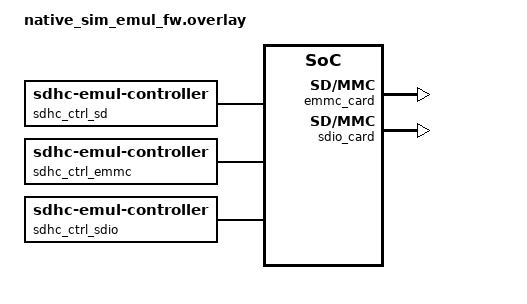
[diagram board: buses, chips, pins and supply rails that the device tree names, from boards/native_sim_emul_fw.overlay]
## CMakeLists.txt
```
# Copyright 2026 Alif Semiconductor
# SPDX-License-Identifier: Apache-2.0

cmake_minimum_required(VERSION 3.20.0)

find_package(Zephyr REQUIRED HINTS $ENV{ZEPHYR_BASE})
project(sdhc_emul_test)

file(GLOB app_sources src/*.c)
target_sources(app PRIVATE ${app_sources})
```

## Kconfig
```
# Copyright 2026 Alif Semiconductor
# SPDX-License-Identifier: Apache-2.0

source "Kconfig.zephyr"
```

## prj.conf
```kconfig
# Copyright 2026 Alif Semiconductor
# SPDX-License-Identifier: Apache-2.0

CONFIG_ZTEST=y
CONFIG_SDHC=y
CONFIG_EMUL=y
CONFIG_LOG=y
```

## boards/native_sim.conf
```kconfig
CONFIG_ZTEST=y
CONFIG_SDHC=y
CONFIG_SDHC_EMUL=y
CONFIG_LOG=y
CONFIG_SYS_HEAP_AUTO=y
```

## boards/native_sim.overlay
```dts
/**
 * Copyright 2026 Alif Semiconductor
 *
 * SPDX-License-Identifier: Apache-2.0
 */

/ {
	aliases {
		sdhc-sd = &sdhc_sd;
		sdhc-emmc = &sdhc_emmc;
	};

	sdhc_sd: sdhc_emul_sd {
		compatible = "zephyr,sdhc-emul";
		card-type = "sdhc";
		capacity-blocks = <1024>;
		max-bus-freq = <50000000>;
		bus-width = <4>;
		high-speed;
		voltage-330;
		card-inserted;
		status = "okay";
	};

	sdhc_emmc: sdhc_emul_emmc {
		compatible = "zephyr,sdhc-emul";
		card-type = "emmc";
		capacity-blocks = <1024>;
		max-bus-freq = <200000000>;
		bus-width = <8>;
		high-speed;
		voltage-330;
		card-inserted;
		status = "okay";
	};
};
```

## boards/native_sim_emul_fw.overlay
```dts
/*
 * Copyright 2026 Alif Semiconductor
 *
 * SPDX-License-Identifier: Apache-2.0
 *
 * Test overlay using the emul-framework controller + card pattern.
 * Each card type gets its own controller to match existing test aliases.
 */

/ {
	aliases {
		sdhc-sd = &sdhc_ctrl_sd;
		sdhc-emmc = &sdhc_ctrl_emmc;
		sdhc-sdio = &sdhc_ctrl_sdio;
	};

	sdhc_ctrl_sd: sdhc-emul-controller-sd {
		compatible = "zephyr,sdhc-emul-controller";
		#address-cells = <1>;
		#size-cells = <0>;
		max-bus-freq = <50000000>;
		bus-width = <4>;
		high-speed;
		voltage-330;
		status = "okay";

		sd_card: sd-card@0 {
			compatible = "zephyr,sdhc-emul-card";
			reg = <0>;
			card-type = "sdhc";
			capacity-blocks = <1024>;
			card-inserted;
			status = "okay";
		};
	};

	sdhc_ctrl_emmc: sdhc-emul-controller-emmc {
		compatible = "zephyr,sdhc-emul-controller";
		#address-cells = <1>;
		#size-cells = <0>;
		max-bus-freq = <200000000>;
		bus-width = <8>;
		high-speed;
		voltage-330;
		status = "okay";

		emmc_card: emmc-card@0 {
			compatible = "zephyr,sdhc-emul-card";
			reg = <0>;
			card-type = "emmc";
			capacity-blocks = <2048>;
			card-inserted;
			status = "okay";
		};
	};

	sdhc_ctrl_sdio: sdhc-emul-controller-sdio {
		compatible = "zephyr,sdhc-emul-controller";
		#address-cells = <1>;
		#size-cells = <0>;
		max-bus-freq = <50000000>;
		bus-width = <4>;
		high-speed;
		voltage-330;
		status = "okay";

		sdio_card: sdio-card@0 {
			compatible = "zephyr,sdhc-emul-card";
			reg = <0>;
			card-type = "sdio";
			capacity-blocks = <128>;
			sdio-func-count = <2>;
			card-inserted;
			status = "okay";
		};
	};
};
```

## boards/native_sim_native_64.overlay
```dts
/*
 * Copyright 2026 Alif Semiconductor
 *
 * SPDX-License-Identifier: Apache-2.0
 */

#include "native_sim.overlay"
```

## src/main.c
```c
/*
 * Copyright 2026 Alif Semiconductor
 * SPDX-License-Identifier: Apache-2.0
 */

#include <zephyr/ztest.h>
#include <zephyr/device.h>
#include <zephyr/drivers/sdhc.h>
#include <zephyr/drivers/sdhc/sdhc_emul.h>
#include <zephyr/sd/sd_spec.h>
#include <string.h>

static const struct device *const dev = DEVICE_DT_GET(DT_ALIAS(sdhc_sd));

static int card_state(const struct device *dev, uint32_t rca)
{
	struct sdhc_command cmd = {0};
	int ret;

	cmd.opcode = SD_SEND_STATUS;
	cmd.arg = rca << 16;
	cmd.response_type = SD_RSP_TYPE_R1;
	cmd.timeout_ms = 200;
	ret = sdhc_request(dev, &cmd, NULL);
	if (ret != 0) {
		return ret;
	}
	return (cmd.response[0] >> SD_R1_CURRENT_STATE_OFFSET) & 0xF;
}

/* CMD0 through CMD7 so later tests start in TRANSFER. SD cards only. */
static void sd_to_transfer(const struct device *card_dev)
{
	struct sdhc_command cmd = {0};
	uint32_t rca;

	cmd.opcode = SD_GO_IDLE_STATE;
	zassert_ok(sdhc_request(card_dev, &cmd, NULL), "CMD0 failed");

	cmd.opcode = SD_APP_CMD;
	zassert_ok(sdhc_request(card_dev, &cmd, NULL), "CMD55 failed");
	cmd.opcode = SD_APP_SEND_OP_COND;
	cmd.arg = SD_OCR_HOST_CAP_FLAG;
	zassert_ok(sdhc_request(card_dev, &cmd, NULL), "ACMD41 failed");

	cmd.opcode = SD_ALL_SEND_CID;
	cmd.arg = 0;
	zassert_ok(sdhc_request(card_dev, &cmd, NULL), "CMD2 failed");

	cmd.opcode = SD_SEND_RELATIVE_ADDR;
	cmd.arg = 0;
	zassert_ok(sdhc_request(card_dev, &cmd, NULL), "CMD3 failed");
	rca = cmd.response[0] >> 16;

	cmd.opcode = SD_SELECT_CARD;
	cmd.arg = rca << 16;
	zassert_ok(sdhc_request(card_dev, &cmd, NULL), "CMD7 failed");
}

ZTEST(sdhc_init, test_card_present_toggle)
{
	zassert_equal(sdhc_card_present(dev), 1, "Card not present on init");
	sdhc_emul_set_card_present(dev, false);
	zassert_equal(sdhc_card_present(dev), 0, "Card still present after removal");
	sdhc_emul_set_card_present(dev, true);
	zassert_equal(sdhc_card_present(dev), 1, "Card not present after reinsertion");
}

/* Verify full SD init sequence and state transitions via CMD13. */
ZTEST(sdhc_init, test_sd_init_sequence)
{
	struct sdhc_command cmd = {0};
	int ret;
	int state;

	/* CMD0 -> IDLE */
	cmd.opcode = SD_GO_IDLE_STATE;
	ret = sdhc_request(dev, &cmd, NULL);
	zassert_ok(ret, "CMD0 failed");
	state = card_state(dev, 0);
	zassert_equal(state, 0, "Not IDLE after CMD0");

	/* CMD8 -> IDLE */
	cmd.opcode = SD_SEND_IF_COND;
	cmd.arg = SD_IF_COND_VHS_3V3 | SD_IF_COND_CHECK;
	ret = sdhc_request(dev, &cmd, NULL);
	zassert_ok(ret, "CMD8 failed");
	zassert_equal(cmd.response[0] & SD_IF_COND_CHECK, SD_IF_COND_CHECK,
			  "CMD8 bad echo pattern");
	state = card_state(dev, 0);
	zassert_equal(state, 0, "Not IDLE after CMD8");

	/* ACMD41 -> READY */
	cmd.opcode = SD_APP_CMD;
	cmd.arg = 0;
	ret = sdhc_request(dev, &cmd, NULL);
	zassert_ok(ret, "CMD55 failed");

	cmd.opcode = SD_APP_SEND_OP_COND;
	cmd.arg = SD_OCR_HOST_CAP_FLAG |
		  SD_OCR_VDD27_28FLAG | SD_OCR_VDD28_29FLAG |
		  SD_OCR_VDD29_30FLAG | SD_OCR_VDD30_31FLAG |
		  SD_OCR_VDD31_32FLAG | SD_OCR_VDD32_33FLAG |
		  SD_OCR_VDD33_34FLAG | SD_OCR_VDD34_35FLAG |
		  SD_OCR_VDD35_36FLAG;
	ret = sdhc_request(dev, &cmd, NULL);
	zassert_ok(ret, "ACMD41 failed");
	zassert_true(cmd.response[0] & SD_OCR_PWR_BUSY_FLAG,
		     "Card not ready after ACMD41");
			 state = card_state(dev, 0);
	zassert_equal(state, 1, "Not READY after ACMD41");

	/* CMD2 -> IDENT */
	cmd.opcode = SD_ALL_SEND_CID;
	cmd.arg = 0;
	ret = sdhc_request(dev, &cmd, NULL);
	zassert_ok(ret, "CMD2 failed");
	state = card_state(dev, 0);
	zassert_equal(state, 2, "Not IDENT after CMD2");

	/* CMD3 -> STANDBY */
	cmd.opcode = SD_SEND_RELATIVE_ADDR;
	ret = sdhc_request(dev, &cmd, NULL);
	zassert_ok(ret, "CMD3 failed");
	uint32_t rca = cmd.response[0] >> 16;

	state = card_state(dev, rca);
	zassert_equal(state, 3, "Not STANDBY after CMD3");

	/* CMD7 -> TRANSFER */
	cmd.opcode = SD_SELECT_CARD;
	cmd.arg = rca << 16;
	ret = sdhc_request(dev, &cmd, NULL);
	zassert_ok(ret, "CMD7 failed");
	state = card_state(dev, rca);
	zassert_equal(state, 4, "Not TRANSFER after CMD7");
}

/* Verify full eMMC init sequence and state transitions via CMD13. */
ZTEST(sdhc_init, test_emmc_init_sequence)
{
	const struct device *emmc_dev = DEVICE_DT_GET(DT_ALIAS(sdhc_emmc));
	struct sdhc_command cmd = {0};
	int ret;
	int state;

	cmd.opcode = SD_GO_IDLE_STATE;
	ret = sdhc_request(emmc_dev, &cmd, NULL);
	zassert_ok(ret, "CMD0 failed");
	state = card_state(emmc_dev, 0);
	zassert_equal(state, 0, "Not IDLE after CMD0");

	cmd.opcode = MMC_SEND_OP_COND;
	cmd.arg = SD_OCR_HOST_CAP_FLAG |
		  SD_OCR_VDD27_28FLAG | SD_OCR_VDD28_29FLAG |
		  SD_OCR_VDD29_30FLAG | SD_OCR_VDD30_31FLAG |
		  SD_OCR_VDD31_32FLAG | SD_OCR_VDD32_33FLAG |
		  SD_OCR_VDD33_34FLAG | SD_OCR_VDD34_35FLAG |
		  SD_OCR_VDD35_36FLAG;
	ret = sdhc_request(emmc_dev, &cmd, NULL);
	zassert_ok(ret, "CMD1 failed");
	zassert_true(cmd.response[0] & SD_OCR_PWR_BUSY_FLAG,
		     "eMMC not ready after CMD1");
	state = card_state(emmc_dev, 0);
	zassert_equal(state, 1, "Not READY after CMD1");

	cmd.opcode = SD_ALL_SEND_CID;
	ret = sdhc_request(emmc_dev, &cmd, NULL);
	zassert_ok(ret, "CMD2 failed");
	state = card_state(emmc_dev, 0);
	zassert_equal(state, 2, "Not IDENT after CMD2");

	cmd.opcode = SD_SEND_RELATIVE_ADDR;
	ret = sdhc_request(emmc_dev, &cmd, NULL);
	zassert_ok(ret, "CMD3 failed");
	uint32_t rca = cmd.response[0] >> 16;

	state = card_state(emmc_dev, rca);
	zassert_equal(state, 3, "Not STANDBY after CMD3");

	cmd.opcode = SD_SELECT_CARD;
	cmd.arg = rca << 16;
	ret = sdhc_request(emmc_dev, &cmd, NULL);
	zassert_ok(ret, "CMD7 failed");
	state = card_state(emmc_dev, rca);
	zassert_equal(state, 4, "Not TRANSFER after CMD7");

	/* CMD8 EXT_CSD Read */
	cmd.opcode = MMC_SEND_EXT_CSD;
	cmd.arg = 0;
	struct sdhc_data data = {0};
	uint8_t ext_csd[512] = {0};

	data.data = ext_csd;
	ret = sdhc_request(emmc_dev, &cmd, &data);
	zassert_ok(ret, "CMD8 EXT_CSD read failed");
	zassert_equal(ext_csd[MMC_EXT_CSD_REV], MMC_5_1,
		      "EXT_CSD_REV mismatch (expected eMMC 5.1)");
}

/* Poke backing storage, then CMD17 must return the same bytes. */
ZTEST(sdhc_init, test_storage_and_block_count_accessors)
{
	struct sdhc_command cmd = {0};
	struct sdhc_data data = {0};
	uint8_t rbuf[512];
	uint32_t count = 0;
	uint8_t *storage = sdhc_emul_get_storage(dev);

	zassert_not_null(storage, "Storage pointer should not be NULL");
	zassert_ok(sdhc_emul_get_block_count(dev, &count));
	zassert_equal(count, 1024, "Unexpected block count for sdhc_sd");

	memset(storage, 0x3C, 512);
	sd_to_transfer(dev);

	cmd.opcode = SD_READ_SINGLE_BLOCK;
	cmd.arg = 0;
	data.block_addr = 0;
	data.block_size = 512;
	data.blocks = 1;
	data.data = rbuf;
	zassert_ok(sdhc_request(dev, &cmd, &data), "CMD17 failed");
	zassert_mem_equal(rbuf, storage, 512, "CMD17 did not read backing storage");
}

ZTEST_SUITE(sdhc_init, NULL, NULL, NULL, NULL, NULL);
```

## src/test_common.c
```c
/*
 * Copyright 2026 Alif Semiconductor
 *
 * SPDX-License-Identifier: Apache-2.0
 */

#include "test_common.h"
#include <zephyr/ztest.h>
#include <zephyr/sd/sd_spec.h>

uint32_t sdhc_init_to_transfer(const struct device *dev)
{
	struct sdhc_host_props props = {0};
	struct sdhc_command cmd = {0};
	int ret;

	zassert_ok(sdhc_get_host_props(dev, &props), "get_host_props failed");

	bool is_emmc = props.host_caps.bus_8_bit_support != 0;

	/* CMD0 GO_IDLE_STATE */
	cmd.opcode = SD_GO_IDLE_STATE;
	ret = sdhc_request(dev, &cmd, NULL);
	zassert_ok(ret, "CMD0 failed");

	if (is_emmc) {
		/* CMD1 SEND_OP_COND */
		cmd.opcode = MMC_SEND_OP_COND;
		cmd.arg = SD_OCR_HOST_CAP_FLAG |
			  SD_OCR_VDD27_28FLAG | SD_OCR_VDD28_29FLAG |
			  SD_OCR_VDD29_30FLAG | SD_OCR_VDD30_31FLAG |
			  SD_OCR_VDD31_32FLAG | SD_OCR_VDD32_33FLAG |
			  SD_OCR_VDD33_34FLAG | SD_OCR_VDD34_35FLAG |
			  SD_OCR_VDD35_36FLAG;
		ret = sdhc_request(dev, &cmd, NULL);
		zassert_ok(ret, "CMD1 failed");
		zassert_true(cmd.response[0] & SD_OCR_PWR_BUSY_FLAG,
			     "eMMC not ready after CMD1");
	} else {
		/* CMD8 SEND_IF_COND */
		cmd.opcode = SD_SEND_IF_COND;
		cmd.arg = SD_IF_COND_VHS_3V3 | SD_IF_COND_CHECK;
		ret = sdhc_request(dev, &cmd, NULL);
		zassert_ok(ret, "CMD8 failed");
		zassert_equal(cmd.response[0] & SD_IF_COND_CHECK, SD_IF_COND_CHECK,
			      "CMD8 bad echo pattern");

		/* CMD55 + ACMD41 SD_SEND_OP_COND */
		cmd.opcode = SD_APP_CMD;
		cmd.arg = 0;
		ret = sdhc_request(dev, &cmd, NULL);
		zassert_ok(ret, "CMD55 failed");

		cmd.opcode = SD_APP_SEND_OP_COND;
		cmd.arg = SD_OCR_HOST_CAP_FLAG |
			  SD_OCR_VDD27_28FLAG | SD_OCR_VDD28_29FLAG |
			  SD_OCR_VDD29_30FLAG | SD_OCR_VDD30_31FLAG |
			  SD_OCR_VDD31_32FLAG | SD_OCR_VDD32_33FLAG |
			  SD_OCR_VDD33_34FLAG | SD_OCR_VDD34_35FLAG |
			  SD_OCR_VDD35_36FLAG;
		ret = sdhc_request(dev, &cmd, NULL);
		zassert_ok(ret, "ACMD41 failed");
		zassert_true(cmd.response[0] & SD_OCR_PWR_BUSY_FLAG,
			     "Card not ready after ACMD41");
	}

	/* CMD2 ALL_SEND_CID */
	cmd.opcode = SD_ALL_SEND_CID;
	cmd.arg = 0;
	ret = sdhc_request(dev, &cmd, NULL);
	zassert_ok(ret, "CMD2 failed");

	/* CMD3 SEND_RELATIVE_ADDR */
	cmd.opcode = SD_SEND_RELATIVE_ADDR;
	ret = sdhc_request(dev, &cmd, NULL);
	zassert_ok(ret, "CMD3 failed");
	uint32_t rca = cmd.response[0] >> 16;

	/* CMD7 SELECT_CARD */
	cmd.opcode = SD_SELECT_CARD;
	cmd.arg = rca << 16;
	ret = sdhc_request(dev, &cmd, NULL);
	zassert_ok(ret, "CMD7 failed");

	return rca;
}

int sdhc_get_card_state(const struct device *dev, uint32_t rca)
{
	struct sdhc_command cmd = {0};
	int ret;

	cmd.opcode = SD_SEND_STATUS;
	cmd.arg = rca << 16;
	ret = sdhc_request(dev, &cmd, NULL);
	if (ret != 0) {
		return ret;
	}
	return (cmd.response[0] >> 9) & 0xF;
}

int sdhc_acmd(const struct device *dev, uint32_t rca,
	      uint8_t opcode, uint32_t arg,
	      struct sdhc_command *cmd_out,
	      struct sdhc_data *data)
{
	struct sdhc_command cmd = {0};
	int ret;

	cmd.opcode = SD_APP_CMD;
	cmd.arg = rca << 16;
	ret = sdhc_request(dev, &cmd, NULL);
	if (ret != 0) {
		return ret;
	}

	cmd.opcode = opcode;
	cmd.arg = arg;
	ret = sdhc_request(dev, &cmd, data);
	if (cmd_out != NULL) {
		*cmd_out = cmd;
	}
	return ret;
}

int sdhc_write_blocks(const struct device *dev, uint32_t block_addr,
		      uint8_t *buf, uint32_t n_blocks, size_t *bytes_xfered)
{
	struct sdhc_command cmd = {0};
	struct sdhc_data data = {0};

	cmd.opcode = (n_blocks == 1) ? SD_WRITE_SINGLE_BLOCK : SD_WRITE_MULTIPLE_BLOCK;
	cmd.arg = block_addr;
	data.block_addr = block_addr;
	data.block_size = 512;
	data.blocks = n_blocks;
	data.data = buf;

	int ret = sdhc_request(dev, &cmd, &data);

	if (ret == 0 && bytes_xfered != NULL) {
		*bytes_xfered = data.bytes_xfered;
	}
	return ret;
}

int sdhc_read_blocks(const struct device *dev, uint32_t block_addr,
		     uint8_t *buf, uint32_t n_blocks, size_t *bytes_xfered)
{
	struct sdhc_command cmd = {0};
	struct sdhc_data data = {0};

	cmd.opcode = (n_blocks == 1) ? SD_READ_SINGLE_BLOCK : SD_READ_MULTIPLE_BLOCK;
	cmd.arg = block_addr;
	data.block_addr = block_addr;
	data.block_size = 512;
	data.blocks = n_blocks;
	data.data = buf;

	int ret = sdhc_request(dev, &cmd, &data);

	if (ret == 0 && bytes_xfered != NULL) {
		*bytes_xfered = data.bytes_xfered;
	}
	return ret;
}
```

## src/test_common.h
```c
/*
 * Copyright 2026 Alif Semiconductor
 *
 * SPDX-License-Identifier: Apache-2.0
 */

#ifndef TEST_COMMON_H
#define TEST_COMMON_H

#include <zephyr/drivers/sdhc.h>

/* eMMC EXT_CSD byte offsets (JEDEC JESD84-B51) */
#define EXT_CSD_SEC_COUNT	212
#define EXT_CSD_BUS_WIDTH	183
#define EXT_CSD_HS_TIMING	185
#define EXT_CSD_STRUCTURE	192

/**
 * @brief Bring the emulated card to TRANSFER state.
 *
 * Auto-detects SD vs eMMC personality and runs the correct init sequence.
 * Returns the RCA assigned by CMD3.
 */
uint32_t sdhc_init_to_transfer(const struct device *dev);

/**
 * @brief Query card state via CMD13.
 * @return State nibble (0-15) or negative errno on failure.
 */
int sdhc_get_card_state(const struct device *dev, uint32_t rca);

/**
 * @brief Send CMD55 then an application-specific command.
 */
int sdhc_acmd(const struct device *dev, uint32_t rca,
	      uint8_t opcode, uint32_t arg,
	      struct sdhc_command *cmd_out,
	      struct sdhc_data *data);

/**
 * @brief High-level block write helper.
 * @return 0 on success, negative errno otherwise.
 */
int sdhc_write_blocks(const struct device *dev, uint32_t block_addr,
		      uint8_t *buf, uint32_t n_blocks, size_t *bytes_xfered);

/**
 * @brief High-level block read helper.
 * @return 0 on success, negative errno otherwise.
 */
int sdhc_read_blocks(const struct device *dev, uint32_t block_addr,
		     uint8_t *buf, uint32_t n_blocks, size_t *bytes_xfered);

#endif
```

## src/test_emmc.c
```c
/*
 * Copyright 2026 Alif Semiconductor
 *
 * SPDX-License-Identifier: Apache-2.0
 */

#include <zephyr/ztest.h>
#include <zephyr/device.h>
#include <zephyr/drivers/sdhc.h>
#include <zephyr/drivers/sdhc/sdhc_emul.h>
#include <zephyr/sd/sd_spec.h>
#include "test_common.h"

static const struct device *dev = DEVICE_DT_GET(DT_ALIAS(sdhc_emmc));

void *sdhc_emmc_setup(void)
{
	zassert_true(device_is_ready(dev), "eMMC emulator not ready");
	sdhc_init_to_transfer(dev);
	return NULL;
}

/* Verify EXT_CSD read returns SEC_COUNT matching devicetree capacity. */
ZTEST(sdhc_emmc, test_ext_csd_read)
{
	struct sdhc_command cmd = {0};
	struct sdhc_data data = {0};
	uint8_t ext_csd[512] = {0};

	cmd.opcode = MMC_SEND_EXT_CSD;
	data.data = ext_csd;
	uint32_t cap;

	int ret = sdhc_request(dev, &cmd, &data);

	zassert_ok(ret, "CMD8 failed");
	zassert_equal(data.bytes_xfered, 512, "bytes_xfered mismatch for EXT_CSD");

	zassert_ok(sdhc_emul_get_block_count(dev, &cap));

	uint32_t sec_count = (ext_csd[EXT_CSD_SEC_COUNT + 3] << 24) |
			     (ext_csd[EXT_CSD_SEC_COUNT + 2] << 16) |
			     (ext_csd[EXT_CSD_SEC_COUNT + 1] << 8) |
			     ext_csd[EXT_CSD_SEC_COUNT + 0];
	zassert_equal(sec_count, cap, "SEC_COUNT mismatch");
}

/* Verify CMD6 SWITCH can set HS200 timing mode in EXT_CSD. */
ZTEST(sdhc_emmc, test_switch_hs200)
{
	struct sdhc_command cmd = {0};

	cmd.opcode = SD_SWITCH;
	cmd.arg = (3 << 24) | (EXT_CSD_HS_TIMING << 16) | (0x02 << 8);
	zassert_ok(sdhc_request(dev, &cmd, NULL), "CMD6 SWITCH failed");

	struct sdhc_data data = {0};
	uint8_t ext_csd[512] = {0};

	cmd.opcode = MMC_SEND_EXT_CSD;
	cmd.arg = 0;
	data.data = ext_csd;
	sdhc_request(dev, &cmd, &data);
	zassert_equal(ext_csd[EXT_CSD_HS_TIMING], 0x02, "HS_TIMING not updated to HS200");
}

/* Verify CMD6 SWITCH can set 8-bit bus width in EXT_CSD. */
ZTEST(sdhc_emmc, test_switch_bus_width_8bit)
{
	struct sdhc_command cmd = {0};

	cmd.opcode = SD_SWITCH;
	cmd.arg = (3 << 24) | (EXT_CSD_BUS_WIDTH << 16) | (0x02 << 8);
	zassert_ok(sdhc_request(dev, &cmd, NULL), "CMD6 SWITCH failed");

	struct sdhc_data data = {0};
	uint8_t ext_csd[512] = {0};

	cmd.opcode = MMC_SEND_EXT_CSD;
	cmd.arg = 0;
	data.data = ext_csd;
	sdhc_request(dev, &cmd, &data);
	zassert_equal(ext_csd[EXT_CSD_BUS_WIDTH], 0x02, "BUS_WIDTH not updated to 8-bit");
}

/* Verify reliable write prefix (CMD23 bit 31) is accepted. */
ZTEST(sdhc_emmc, test_reliable_write)
{
	struct sdhc_command cmd = {0};
	struct sdhc_data sdhc_data = {0};
	uint8_t wbuf[512] = {0};

	cmd.opcode = SD_SET_BLOCK_COUNT;
	cmd.arg = (1U << 31) | 1;
	zassert_ok(sdhc_request(dev, &cmd, NULL), "CMD23 failed");

	cmd.opcode = SD_WRITE_MULTIPLE_BLOCK;
	cmd.arg = 0;
	sdhc_data.block_addr = 0;
	sdhc_data.block_size = 512;
	sdhc_data.blocks = 1;
	sdhc_data.data = wbuf;
	zassert_ok(sdhc_request(dev, &cmd, &sdhc_data), "CMD25 failed");
	zassert_equal(sdhc_data.bytes_xfered, 512, "bytes_xfered mismatch");
}

/* Verify tuning block read returns the expected pattern. */
ZTEST(sdhc_emmc, test_tuning_block_pattern)
{
	struct sdhc_command cmd = {0};
	struct sdhc_data data = {0};
	uint8_t tuning_block[128] = {0};

	cmd.opcode = MMC_SEND_TUNING_BLOCK;
	data.data = tuning_block;
	zassert_ok(sdhc_request(dev, &cmd, &data), "CMD21 failed");
	zassert_equal(data.bytes_xfered, 128, "bytes_xfered mismatch for tuning");
	zassert_equal(tuning_block[0], 0xA5, "Tuning block mismatch");
	zassert_equal(tuning_block[127], 0xA5, "Tuning block mismatch");
}

/* Verify sleep state blocks data commands and awake restores operation. */
ZTEST(sdhc_emmc, test_sleep_awake)
{
	struct sdhc_command cmd = {0};

	cmd.opcode = SDIO_SEND_OP_COND;
	cmd.arg = 0x8000;
	zassert_ok(sdhc_request(dev, &cmd, NULL), "CMD5 SLEEP failed");

	cmd.opcode = SD_READ_SINGLE_BLOCK;
	cmd.arg = 0;
	struct sdhc_data data = {0};

	zassert_not_equal(sdhc_request(dev, &cmd, &data), 0,
			  "Data command succeeded in SLEEP state");

	cmd.opcode = SDIO_SEND_OP_COND;
	cmd.arg = 0x0000;
	zassert_ok(sdhc_request(dev, &cmd, NULL), "CMD5 AWAKE failed");
}

/* Verify direct HS400 transition without HS200 is rejected. */
ZTEST(sdhc_emmc, test_hs400_without_hs200_rejected)
{
	struct sdhc_command cmd = {0};

	sdhc_init_to_transfer(dev);

	cmd.opcode = SD_SWITCH;
	cmd.arg = (3 << 24) | (EXT_CSD_HS_TIMING << 16) | (0x03 << 8);

	int ret = sdhc_request(dev, &cmd, NULL);

	zassert_equal(ret, -EINVAL, "Direct transition to HS400 must return -EINVAL");
}
```

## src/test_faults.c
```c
/*
 * Copyright 2026 Alif Semiconductor
 *
 * SPDX-License-Identifier: Apache-2.0
 */

#include <zephyr/ztest.h>
#include <zephyr/device.h>
#include <zephyr/drivers/sdhc.h>
#include <zephyr/drivers/sdhc/sdhc_emul.h>
#include <zephyr/sd/sd_spec.h>
#include "test_common.h"

static const struct device *dev = DEVICE_DT_GET(DT_ALIAS(sdhc_sd));

/* Verify fault injection on CMD17 returns -EIO and clears correctly. */
ZTEST(sdhc_faults, test_inject_cmd17_error)
{
	struct sdhc_command cmd = {0};

	sdhc_emul_set_fault(dev, SD_READ_SINGLE_BLOCK);

	cmd.opcode = SD_READ_SINGLE_BLOCK;

	int ret = sdhc_request(dev, &cmd, NULL);

	zassert_equal(ret, -EIO, "CMD17 should fail due to fault injection");

	sdhc_emul_clear_fault(dev);

	cmd.opcode = SD_READ_SINGLE_BLOCK;
	ret = sdhc_request(dev, &cmd, NULL);
	zassert_not_equal(ret, -EIO, "CMD17 fault should be cleared");
}

/* Verify I/O after card removal returns -ENODEV. */
ZTEST(sdhc_faults, test_card_removal_mid_io)
{
	struct sdhc_command cmd = {0};

	sdhc_emul_set_card_present(dev, false);

	cmd.opcode = SD_READ_MULTIPLE_BLOCK;

	int ret = sdhc_request(dev, &cmd, NULL);

	zassert_equal(ret, -ENODEV, "I/O should fail with -ENODEV after card removal");

	sdhc_emul_set_card_present(dev, true);
}

/* Verify CMD17 with NULL data buffer returns -EINVAL. */
ZTEST(sdhc_faults, test_null_data_buffer)
{
	(void)sdhc_init_to_transfer(dev);
	struct sdhc_command cmd = {0};
	struct sdhc_data data = {0};

	cmd.opcode = SD_READ_SINGLE_BLOCK;
	data.data = NULL;

	int ret = sdhc_request(dev, &cmd, &data);

	zassert_equal(ret, -EINVAL, "CMD17 with NULL buffer should return -EINVAL");
}

/* Verify CMD17 with out-of-range block address returns -EINVAL. */
ZTEST(sdhc_faults, test_out_of_range_block)
{
	struct sdhc_command cmd = {0};
	struct sdhc_data data = {0};
	uint8_t buf[512];

	cmd.opcode = SD_READ_SINGLE_BLOCK;
	data.block_addr = UINT32_MAX;
	data.data = buf;

	int ret = sdhc_request(dev, &cmd, &data);

	zassert_equal(ret, -EINVAL, "CMD17 with out of bounds block should return -EINVAL");
}

/* Verify CMD8 echo reflects the supplied check pattern. */
ZTEST(sdhc_faults, test_wrong_voltage_cmd8)
{
	struct sdhc_command cmd = {0};

	cmd.opcode = SD_SEND_IF_COND;
	cmd.arg = 0x00000000;

	zassert_ok(sdhc_request(dev, &cmd, NULL), "CMD8 failed");
	zassert_equal(cmd.response[0] & 0xFF, 0x00, "CMD8 echo pattern mismatch");
}

/* Verify consecutive GO_IDLE_STATE commands succeed. */
ZTEST(sdhc_faults, test_double_reset)
{
	struct sdhc_command cmd = {0};

	cmd.opcode = SD_GO_IDLE_STATE;
	zassert_ok(sdhc_request(dev, &cmd, NULL), "First reset failed");
	zassert_ok(sdhc_request(dev, &cmd, NULL), "Second reset failed");
}

/* Verify fault injection on CMD24 returns -EIO and leaves state intact. */
ZTEST(sdhc_faults, test_inject_cmd24_error)
{
	uint32_t rca = sdhc_init_to_transfer(dev);
	struct sdhc_command cmd = {0};

	sdhc_emul_set_fault(dev, SD_WRITE_SINGLE_BLOCK);

	cmd.opcode = SD_WRITE_SINGLE_BLOCK;
	struct sdhc_data data = {0};
	uint8_t wbuf[512] = {0};

	data.block_addr = 0;
	data.block_size = 512;
	data.blocks = 1;
	data.data = wbuf;

	int ret = sdhc_request(dev, &cmd, &data);

	zassert_equal(ret, -EIO, "CMD24 should fail due to fault injection");

	int state = sdhc_get_card_state(dev, rca);

	zassert_true(state >= 0, "CMD13 failed");
	zassert_equal(state, 4, "Card state should stay TRANSFER after failed CMD24");

	sdhc_emul_clear_fault(dev);
}

/* Verify fault on ACMD41 keeps the card in IDLE state. */
ZTEST(sdhc_faults, test_inject_acmd41_blocks_init)
{
	struct sdhc_command cmd = {0};

	/* Reset to IDLE */
	cmd.opcode = SD_GO_IDLE_STATE;
	zassert_ok(sdhc_request(dev, &cmd, NULL), "CMD0 failed");

	/* Inject fault on ACMD41 */
	sdhc_emul_set_fault(dev, SD_APP_SEND_OP_COND);

	cmd.opcode = SD_APP_CMD;
	cmd.arg = 0;
	zassert_ok(sdhc_request(dev, &cmd, NULL), "CMD55 failed");

	cmd.opcode = SD_APP_SEND_OP_COND;
	cmd.arg = SD_OCR_HOST_CAP_FLAG |
		  SD_OCR_VDD27_28FLAG | SD_OCR_VDD28_29FLAG |
		  SD_OCR_VDD29_30FLAG | SD_OCR_VDD30_31FLAG |
		  SD_OCR_VDD31_32FLAG | SD_OCR_VDD32_33FLAG |
		  SD_OCR_VDD33_34FLAG | SD_OCR_VDD34_35FLAG |
		  SD_OCR_VDD35_36FLAG;
	int ret = sdhc_request(dev, &cmd, NULL);

	zassert_equal(ret, -EIO, "ACMD41 should fail due to fault injection");

	/* Card must stay in IDLE (not advance to READY) */
	int state = sdhc_get_card_state(dev, 0);

	zassert_true(state >= 0, "CMD13 failed");
	zassert_equal(state, 0, "Card should stay IDLE after failed ACMD41");

	sdhc_emul_clear_fault(dev);
}

/* Verify fault on CMD8 keeps the card in IDLE state. */
ZTEST(sdhc_faults, test_inject_cmd8_blocks_init)
{
	struct sdhc_command cmd = {0};

	cmd.opcode = SD_GO_IDLE_STATE;
	zassert_ok(sdhc_request(dev, &cmd, NULL), "CMD0 failed");

	sdhc_emul_set_fault(dev, SD_SEND_IF_COND);

	cmd.opcode = SD_SEND_IF_COND;
	cmd.arg = SD_IF_COND_VHS_3V3 | SD_IF_COND_CHECK;

	int ret = sdhc_request(dev, &cmd, NULL);

	zassert_equal(ret, -EIO, "CMD8 should fail due to fault injection");

	/* Card must stay in IDLE */
	int state = sdhc_get_card_state(dev, 0);

	zassert_true(state >= 0, "CMD13 failed");
	zassert_equal(state, 0, "Card should stay IDLE after failed CMD8");

	sdhc_emul_clear_fault(dev);
}
```

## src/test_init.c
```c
/*
 * Copyright 2026 Alif Semiconductor
 *
 * SPDX-License-Identifier: Apache-2.0
 */

#include <zephyr/ztest.h>
#include <zephyr/device.h>
#include <zephyr/drivers/sdhc.h>
#include <zephyr/drivers/sdhc/sdhc_emul.h>
#include <zephyr/sd/sd_spec.h>
#include "test_common.h"

static const struct device *dev = DEVICE_DT_GET(DT_ALIAS(sdhc_sd));

/* Verify SD host properties report expected capabilities. */
ZTEST(sdhc_init, test_host_props_sd)
{
	struct sdhc_host_props props;

	zassert_true(device_is_ready(dev), "SDHC emulator not ready");
	zassert_ok(sdhc_get_host_props(dev, &props), "sdhc_get_host_props failed");
	zassert_true(props.f_max >= 25000000, "f_max too low for SD");
	zassert_equal(props.host_caps.high_spd_support, 1, "High speed not supported");
	zassert_equal(props.host_caps.bus_8_bit_support, 0, "8-bit bus supported on SD");
}

/* Verify eMMC host properties report expected capabilities. */
ZTEST(sdhc_init, test_host_props_emmc)
{
	const struct device *emmc_dev = DEVICE_DT_GET(DT_ALIAS(sdhc_emmc));
	struct sdhc_host_props props;

	zassert_true(device_is_ready(emmc_dev), "eMMC emulator not ready");
	zassert_ok(sdhc_get_host_props(emmc_dev, &props), "sdhc_get_host_props failed");
	zassert_equal(props.host_caps.bus_8_bit_support, 1, "8-bit bus not supported on eMMC");
	zassert_true(props.f_max >= 200000000, "f_max too low for eMMC");
}

/* Verify card presence can be toggled via the emulator accessor. */
ZTEST(sdhc_init, test_card_present_toggle)
{
	zassert_equal(sdhc_card_present(dev), 1, "Card not present on init");

	sdhc_emul_set_card_present(dev, false);
	zassert_equal(sdhc_card_present(dev), 0, "Card still present after removal");

	sdhc_emul_set_card_present(dev, true);
	zassert_equal(sdhc_card_present(dev), 1, "Card not present after reinsertion");
}

/* Verify hardware reset does not erase emulator storage contents. */
ZTEST(sdhc_init, test_reset_preserves_storage)
{
	uint8_t *storage = sdhc_emul_get_storage(dev);

	zassert_not_null(storage, "Storage pointer is NULL");

	storage[0] = 0xA5;
	zassert_ok(sdhc_hw_reset(dev), "sdhc_hw_reset failed");
	zassert_equal(storage[0], 0xA5, "Storage cleared on reset");
}

/* Verify full SD init sequence and state transitions via CMD13. */
ZTEST(sdhc_init, test_sd_init_sequence)
{
	struct sdhc_command cmd = {0};
	int ret;
	int state;

	/* CMD0 -> IDLE */
	cmd.opcode = SD_GO_IDLE_STATE;
	ret = sdhc_request(dev, &cmd, NULL);
	zassert_ok(ret, "CMD0 failed");
	state = sdhc_get_card_state(dev, 0);
	zassert_equal(state, 0, "Not IDLE after CMD0");

	/* CMD8 -> IDLE */
	cmd.opcode = SD_SEND_IF_COND;
	cmd.arg = SD_IF_COND_VHS_3V3 | SD_IF_COND_CHECK;
	ret = sdhc_request(dev, &cmd, NULL);
	zassert_ok(ret, "CMD8 failed");
	zassert_equal(cmd.response[0] & SD_IF_COND_CHECK, SD_IF_COND_CHECK,
			  "CMD8 bad echo pattern");
	state = sdhc_get_card_state(dev, 0);
	zassert_equal(state, 0, "Not IDLE after CMD8");

	/* ACMD41 -> READY */
	cmd.opcode = SD_APP_CMD;
	cmd.arg = 0;
	ret = sdhc_request(dev, &cmd, NULL);
	zassert_ok(ret, "CMD55 failed");

	cmd.opcode = SD_APP_SEND_OP_COND;
	cmd.arg = SD_OCR_HOST_CAP_FLAG |
		  SD_OCR_VDD27_28FLAG | SD_OCR_VDD28_29FLAG |
		  SD_OCR_VDD29_30FLAG | SD_OCR_VDD30_31FLAG |
		  SD_OCR_VDD31_32FLAG | SD_OCR_VDD32_33FLAG |
		  SD_OCR_VDD33_34FLAG | SD_OCR_VDD34_35FLAG |
		  SD_OCR_VDD35_36FLAG;
	ret = sdhc_request(dev, &cmd, NULL);
	zassert_ok(ret, "ACMD41 failed");
	zassert_true(cmd.response[0] & SD_OCR_PWR_BUSY_FLAG,
		     "Card not ready after ACMD41");
	state = sdhc_get_card_state(dev, 0);
	zassert_equal(state, 1, "Not READY after ACMD41");

	/* CMD2 -> IDENT */
	cmd.opcode = SD_ALL_SEND_CID;
	cmd.arg = 0;
	ret = sdhc_request(dev, &cmd, NULL);
	zassert_ok(ret, "CMD2 failed");
	state = sdhc_get_card_state(dev, 0);
	zassert_equal(state, 2, "Not IDENT after CMD2");

	/* CMD3 -> STANDBY */
	cmd.opcode = SD_SEND_RELATIVE_ADDR;
	ret = sdhc_request(dev, &cmd, NULL);
	zassert_ok(ret, "CMD3 failed");
	uint32_t rca = cmd.response[0] >> 16;

	state = sdhc_get_card_state(dev, rca);
	zassert_equal(state, 3, "Not STANDBY after CMD3");

	/* CMD7 -> TRANSFER */
	cmd.opcode = SD_SELECT_CARD;
	cmd.arg = rca << 16;
	ret = sdhc_request(dev, &cmd, NULL);
	zassert_ok(ret, "CMD7 failed");
	state = sdhc_get_card_state(dev, rca);
	zassert_equal(state, 4, "Not TRANSFER after CMD7");
}

/* Verify CMD17 read is rejected when the card is in IDLE state. */
ZTEST(sdhc_init, test_illegal_state_cmd17_in_idle)
{
	struct sdhc_command cmd = {0};
	struct sdhc_data data = {0};

	cmd.opcode = SD_GO_IDLE_STATE;
	sdhc_request(dev, &cmd, NULL);

	cmd.opcode = SD_READ_SINGLE_BLOCK;
	cmd.arg = 0;

	int ret = sdhc_request(dev, &cmd, &data);

	zassert_not_equal(ret, 0, "CMD17 should fail in IDLE state");
}

/* Verify full eMMC init sequence and state transitions via CMD13. */
ZTEST(sdhc_init, test_emmc_init_sequence)
{
	const struct device *emmc_dev = DEVICE_DT_GET(DT_ALIAS(sdhc_emmc));
	struct sdhc_command cmd = {0};
	int ret;
	int state;

	cmd.opcode = SD_GO_IDLE_STATE;
	ret = sdhc_request(emmc_dev, &cmd, NULL);
	zassert_ok(ret, "CMD0 failed");
	state = sdhc_get_card_state(emmc_dev, 0);
	zassert_equal(state, 0, "Not IDLE after CMD0");

	cmd.opcode = MMC_SEND_OP_COND;
	cmd.arg = SD_OCR_HOST_CAP_FLAG |
		  SD_OCR_VDD27_28FLAG | SD_OCR_VDD28_29FLAG |
		  SD_OCR_VDD29_30FLAG | SD_OCR_VDD30_31FLAG |
		  SD_OCR_VDD31_32FLAG | SD_OCR_VDD32_33FLAG |
		  SD_OCR_VDD33_34FLAG | SD_OCR_VDD34_35FLAG |
		  SD_OCR_VDD35_36FLAG;
	ret = sdhc_request(emmc_dev, &cmd, NULL);
	zassert_ok(ret, "CMD1 failed");
	zassert_true(cmd.response[0] & SD_OCR_PWR_BUSY_FLAG,
		     "eMMC not ready after CMD1");
	state = sdhc_get_card_state(emmc_dev, 0);
	zassert_equal(state, 1, "Not READY after CMD1");

	cmd.opcode = SD_ALL_SEND_CID;
	ret = sdhc_request(emmc_dev, &cmd, NULL);
	zassert_ok(ret, "CMD2 failed");
	state = sdhc_get_card_state(emmc_dev, 0);
	zassert_equal(state, 2, "Not IDENT after CMD2");

	cmd.opcode = SD_SEND_RELATIVE_ADDR;
	ret = sdhc_request(emmc_dev, &cmd, NULL);
	zassert_ok(ret, "CMD3 failed");
	uint32_t rca = cmd.response[0] >> 16;

	state = sdhc_get_card_state(emmc_dev, rca);
	zassert_equal(state, 3, "Not STANDBY after CMD3");

	cmd.opcode = SD_SELECT_CARD;
	cmd.arg = rca << 16;
	ret = sdhc_request(emmc_dev, &cmd, NULL);
	zassert_ok(ret, "CMD7 failed");
	state = sdhc_get_card_state(emmc_dev, rca);
	zassert_equal(state, 4, "Not TRANSFER after CMD7");

	/* CMD8 EXT_CSD Read */
	cmd.opcode = MMC_SEND_EXT_CSD;
	cmd.arg = 0;
	struct sdhc_data data = {0};
	uint8_t ext_csd[512] = {0};

	data.data = ext_csd;
	ret = sdhc_request(emmc_dev, &cmd, &data);
	zassert_ok(ret, "CMD8 EXT_CSD read failed");
	zassert_equal(ext_csd[EXT_CSD_STRUCTURE], MMC_5_1,
		      "EXT_CSD_REV mismatch (expected eMMC 5.1)");
}

/* Verify CSD capacity field matches the devicetree block count. */
ZTEST(sdhc_init, test_csd_capacity_matches_config)
{
	uint32_t rca = sdhc_init_to_transfer(dev);
	struct sdhc_command cmd = {0};

	cmd.opcode = SD_SEND_CSD;
	cmd.arg = rca << 16;

	int ret = sdhc_request(dev, &cmd, NULL);

	zassert_ok(ret, "CMD9 failed");

	uint32_t c_size = ((cmd.response[1] & 0x3F) << 16) |
			  ((cmd.response[2] & 0xFFFF0000U) >> 16);
	uint32_t block_count = (c_size + 1) * 1024;
	uint32_t expected_blocks;

	zassert_ok(sdhc_emul_get_block_count(dev, &expected_blocks));

	zassert_equal(block_count, expected_blocks, "CSD capacity mismatch");
}

/* Verify ACMD6 and sdhc_set_io accept 4-bit bus width. */
ZTEST(sdhc_init, test_set_bus_width_4bit)
{
	uint32_t rca = sdhc_init_to_transfer(dev);
	struct sdhc_command cmd;

	zassert_ok(sdhc_acmd(dev, rca, 6, 2, &cmd, NULL), "ACMD6 failed");

	struct sdhc_io ios = {
		.bus_width = SDHC_BUS_WIDTH4BIT,
	};
	zassert_ok(sdhc_set_io(dev, &ios), "sdhc_set_io 4-bit failed");
}

/* Verify ACMD51 returns a valid SCR structure. */
ZTEST(sdhc_init, test_acmd51_scr_read)
{
	uint32_t rca = sdhc_init_to_transfer(dev);
	struct sdhc_command cmd;
	struct sdhc_data data = {0};
	uint8_t scr[8] = {0};

	data.data = scr;
	data.blocks = 1;
	data.block_size = 8;

	zassert_ok(sdhc_acmd(dev, rca, 51, 0, &cmd, &data), "ACMD51 failed");
	/* Byte 0: lower nibble is SD_SPEC, must be v2.0 or later */
	zassert_true((scr[0] & 0x0F) >= 2, "SCR SD_SPEC too low");
	/* Byte 1: bit 2 indicates 4-bit bus support */
	zassert_true(scr[1] & 0x04, "4-bit bus not indicated in SCR");
}
```

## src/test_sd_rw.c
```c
/*
 * Copyright 2026 Alif Semiconductor
 *
 * SPDX-License-Identifier: Apache-2.0
 */

#include <zephyr/ztest.h>
#include <zephyr/device.h>
#include <zephyr/drivers/sdhc.h>
#include <zephyr/drivers/sdhc/sdhc_emul.h>
#include <zephyr/sd/sd_spec.h>
#include "test_common.h"

static const struct device *dev = DEVICE_DT_GET(DT_ALIAS(sdhc_sd));

void *sdhc_rw_setup(void)
{
	zassert_true(device_is_ready(dev), "SDHC emulator not ready");
	sdhc_init_to_transfer(dev);
	return NULL;
}

/* Verify single-block write and read round-trip with bytes_xfered. */
ZTEST(sdhc_rw, test_single_block_write_read)
{
	uint8_t wbuf[512];
	uint8_t rbuf[512];
	size_t written, read;

	for (int i = 0; i < 512; i++) {
		wbuf[i] = (i & 1) ? 0xA5 : 0x5A;
	}

	int ret = sdhc_write_blocks(dev, 0, wbuf, 1, &written);

	zassert_ok(ret, "Write block 0 failed");
	zassert_equal(written, 512, "bytes_xfered mismatch on write");

	memset(rbuf, 0, 512);
	ret = sdhc_read_blocks(dev, 0, rbuf, 1, &read);
	zassert_ok(ret, "Read block 0 failed");
	zassert_equal(read, 512, "bytes_xfered mismatch on read");

	zassert_mem_equal(wbuf, rbuf, 512, "Read data mismatch");
}

/* Verify multi-block write and read round-trip with bytes_xfered. */
ZTEST(sdhc_rw, test_multi_block_write_read)
{
	uint8_t wbuf[4096];
	uint8_t rbuf[4096];
	size_t written, read;

	for (int i = 0; i < 4096; i++) {
		wbuf[i] = (uint8_t)(i ^ 0xA5);
	}

	int ret = sdhc_write_blocks(dev, 10, wbuf, 8, &written);

	zassert_ok(ret, "Write 8 blocks failed");
	zassert_equal(written, 4096, "bytes_xfered mismatch on multi-write");

	memset(rbuf, 0, 4096);
	ret = sdhc_read_blocks(dev, 10, rbuf, 8, &read);
	zassert_ok(ret, "Read 8 blocks failed");
	zassert_equal(read, 4096, "bytes_xfered mismatch on multi-read");

	zassert_mem_equal(wbuf, rbuf, 4096, "Read data mismatch in multi-block");
}

/* Verify last valid block is writable and out-of-bounds block is rejected. */
ZTEST(sdhc_rw, test_last_block_boundary)
{
	uint8_t buf[512] = {0};
	size_t xfer;
	uint32_t cap;

	zassert_ok(sdhc_emul_get_block_count(dev, &cap));

	int ret = sdhc_write_blocks(dev, cap - 1, buf, 1, &xfer);

	zassert_ok(ret, "Write to last block failed");
	zassert_equal(xfer, 512, "bytes_xfered mismatch on last block");

	ret = sdhc_write_blocks(dev, cap, buf, 1, NULL);
	zassert_not_equal(ret, 0, "Write out of bounds succeeded");
}

/* Verify erase only touches the specified range, leaving adjacent blocks intact. */
ZTEST(sdhc_rw, test_erase_range)
{
	uint8_t *storage = sdhc_emul_get_storage(dev);

	zassert_not_null(storage, "Storage is NULL");

	/* Fill blocks 4-11 with 0xFF */
	memset(&storage[4 * 512], 0xFF, 512 * 8);

	struct sdhc_command cmd = {0};

	cmd.opcode = SD_ERASE_BLOCK_START;
	cmd.arg = 5;
	zassert_ok(sdhc_request(dev, &cmd, NULL), "CMD32 failed");

	cmd.opcode = SD_ERASE_BLOCK_END;
	cmd.arg = 10;
	zassert_ok(sdhc_request(dev, &cmd, NULL), "CMD33 failed");

	cmd.opcode = SD_ERASE_BLOCK_OPERATION;
	cmd.arg = 0;
	zassert_ok(sdhc_request(dev, &cmd, NULL), "CMD38 failed");

	/* Erased blocks 5-10 should be zero */
	for (int i = 5 * 512; i < 11 * 512; i++) {
		zassert_equal(storage[i], 0x00, "Block not erased at offset %d", i);
	}
	/* Adjacent blocks 4 and 11 must still be 0xFF */
	for (int i = 4 * 512; i < 5 * 512; i++) {
		zassert_equal(storage[i], 0xFF, "Block 4 touched at offset %d", i);
	}
	for (int i = 11 * 512; i < 12 * 512; i++) {
		zassert_equal(storage[i], 0xFF, "Block 11 touched at offset %d", i);
	}
}

/* Verify CMD12 leaves the card in TRANSFER state. */
ZTEST(sdhc_rw, test_stop_transmission)
{
	struct sdhc_command cmd = {0};

	cmd.opcode = SD_STOP_TRANSMISSION;
	cmd.arg = 0;
	int ret = sdhc_request(dev, &cmd, NULL);

	zassert_ok(ret, "CMD12 failed");

	uint32_t rca = 0x1234;
	int state = sdhc_get_card_state(dev, rca);

	zassert_true(state >= 0, "CMD13 failed");
	zassert_equal(state, 4, "State not TRANSFER after CMD12");
}

/* Verify CMD23 SET_BLOCK_COUNT precedes a valid multi-block transfer. */
ZTEST(sdhc_rw, test_set_block_count_then_multi)
{
	uint8_t wbuf[1024];
	uint8_t rbuf[1024];
	size_t written, read;

	for (int i = 0; i < 1024; i++) {
		wbuf[i] = (uint8_t)(i + 1);
	}

	struct sdhc_command cmd = {0};

	cmd.opcode = SD_SET_BLOCK_COUNT;
	cmd.arg = 2; /* 2 blocks */
	int ret = sdhc_request(dev, &cmd, NULL);

	zassert_ok(ret, "CMD23 failed");

	ret = sdhc_write_blocks(dev, 20, wbuf, 2, &written);
	zassert_ok(ret, "Write after CMD23 failed");
	zassert_equal(written, 1024, "bytes_xfered mismatch");

	memset(rbuf, 0, 1024);
	ret = sdhc_read_blocks(dev, 20, rbuf, 2, &read);
	zassert_ok(ret, "Read after CMD23 failed");
	zassert_equal(read, 1024, "bytes_xfered mismatch on read");
	zassert_mem_equal(wbuf, rbuf, 1024, "Data mismatch after CMD23");
}

struct rw_ctx {
	uint32_t block;
	int errors;
};

static void rw_thread_disjoint(void *p1, void *p2, void *p3)
{
	struct rw_ctx *ctx = p1;
	uint32_t blk = ctx->block;
	uint8_t buf[512];

	for (int iter = 0; iter < 10; iter++) {
		buf[0] = (uint8_t)(blk + iter);
		size_t xfer;

		if (sdhc_write_blocks(dev, blk, buf, 1, &xfer) != 0 || xfer != 512) {
			ctx->errors++;
		}
		memset(buf, 0, 512);
		if (sdhc_read_blocks(dev, blk, buf, 1, &xfer) != 0 || xfer != 512) {
			ctx->errors++;
		}
		if (buf[0] != (uint8_t)(blk + iter)) {
			ctx->errors++;
		}
	}
}

static void rw_thread_contended(void *p1, void *p2, void *p3)
{
	ARG_UNUSED(p2);
	ARG_UNUSED(p3);
	struct rw_ctx *ctx = p1;
	uint32_t blk = ctx->block;
	uint8_t buf[512];

	for (int iter = 0; iter < 20; iter++) {
		buf[0] = (uint8_t)(iter + 1);
		size_t xfer;

		if (sdhc_write_blocks(dev, blk, buf, 1, &xfer) != 0 || xfer != 512) {
			ctx->errors++;
		}
		memset(buf, 0, 512);
		if (sdhc_read_blocks(dev, blk, buf, 1, &xfer) != 0 || xfer != 512) {
			ctx->errors++;
		}
		/* With mutex contention, buf[0] may not equal our value, but */
		/* the operation should not crash and xfer should be correct. */
	}
}

#define STACK_SIZE 1024
K_THREAD_STACK_ARRAY_DEFINE(rw_stacks, 4, STACK_SIZE);
struct k_thread rw_threads[4];
struct rw_ctx rw_ctxs[4];

/* Verify concurrent threads on disjoint blocks read back correct data. */
ZTEST(sdhc_rw, test_concurrent_disjoint_blocks)
{
	for (int i = 0; i < 4; i++) {
		rw_ctxs[i].block = (uint32_t)(i * 10);
		rw_ctxs[i].errors = 0;
		k_thread_create(&rw_threads[i], rw_stacks[i], STACK_SIZE,
				rw_thread_disjoint, &rw_ctxs[i], NULL, NULL,
				K_PRIO_PREEMPT(1), 0, K_NO_WAIT);
	}
	for (int i = 0; i < 4; i++) {
		k_thread_join(&rw_threads[i], K_FOREVER);
		zassert_equal(rw_ctxs[i].errors, 0, "Thread %d had errors", i);
	}
}

/* Verify concurrent threads on the same block do not crash or corrupt xfer sizes. */
ZTEST(sdhc_rw, test_concurrent_contended_block)
{
	for (int i = 0; i < 4; i++) {
		rw_ctxs[i].block = 100; /* same block for all */
		rw_ctxs[i].errors = 0;
		k_thread_create(&rw_threads[i], rw_stacks[i], STACK_SIZE,
				rw_thread_contended, &rw_ctxs[i], NULL, NULL,
				K_PRIO_PREEMPT(1), 0, K_NO_WAIT);
	}
	for (int i = 0; i < 4; i++) {
		k_thread_join(&rw_threads[i], K_FOREVER);
		/* Only assert structural safety (no crashes, valid xfer sizes) */
		zassert_true(rw_ctxs[i].errors == 0,
			   "Contended thread %d had structural errors", i);
	}
}
```

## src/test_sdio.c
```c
/*
 * Copyright 2026 Alif Semiconductor
 *
 * SPDX-License-Identifier: Apache-2.0
 */

#include <zephyr/ztest.h>
#include <zephyr/device.h>
#include <zephyr/drivers/sdhc.h>
#include <zephyr/drivers/sdhc/sdhc_emul.h>
#include <zephyr/sd/sd_spec.h>

static const struct device *dev = DEVICE_DT_GET(DT_ALIAS(sdhc_sdio));

static void sdio_irq_cb(const struct device *cb_dev, int reason, const void *user_data)
{
	struct k_sem *sem = (struct k_sem *)user_data;

	if (reason == SDHC_INT_SDIO) {
		k_sem_give(sem);
	}
}

/* Verify CMD5 returns correct SDIO function count from devicetree. */
ZTEST(sdhc_sdio, test_io_send_op_cond)
{
	struct sdhc_command cmd = {0};

	cmd.opcode = SDIO_SEND_OP_COND;
	cmd.arg = 0;

	int ret = sdhc_request(dev, &cmd, NULL);

	zassert_ok(ret, "CMD5 failed");

	/* Verify function count in response */
	uint32_t func_count = (cmd.response[0] >> 28) & 0x7;

	zassert_equal(func_count, 2, "Function count mismatch from DT config");
}

/* Verify CMD52 can read CCCR revision register. */
ZTEST(sdhc_sdio, test_cccr_revision)
{
	struct sdhc_command cmd = {0};

	cmd.opcode = SDIO_RW_DIRECT;
	cmd.arg = (0 << 31) | (0 << 28) | (0x00 << 9); /* Read, Func 0, Addr 0x00 */

	int ret = sdhc_request(dev, &cmd, NULL);

	zassert_ok(ret, "CMD52 failed");

	uint8_t data = cmd.response[0] & 0xFF;

	zassert_equal(data, 0x32, "CCCR Revision mismatch");
}

/* Verify CMD52 can read FBR function 1 standard interface code. */
ZTEST(sdhc_sdio, test_fbr_function1)
{
	struct sdhc_command cmd = {0};

	cmd.opcode = SDIO_RW_DIRECT;
	cmd.arg = (0 << 31) | (1 << 28) | (0x100 << 9); /* Read, Func 1, Addr 0x100 */

	int ret = sdhc_request(dev, &cmd, NULL);

	zassert_ok(ret, "CMD52 failed");

	uint8_t data = cmd.response[0] & 0xFF;

	zassert_equal(data, 0x01, "FBR standard interface code mismatch");
}

/* Verify CMD53 byte-mode write and read round-trip with bytes_xfered. */
ZTEST(sdhc_sdio, test_cmd53_byte_mode_rw)
{
	struct sdhc_command cmd = {0};
	struct sdhc_data sdhc_data = {0};
	uint8_t wbuf[64];
	uint8_t rbuf[64];

	for (int i = 0; i < 64; i++) {
		wbuf[i] = (uint8_t)i;
	}

	cmd.opcode = SDIO_RW_EXTENDED;
	cmd.arg = (1 << 31) | (1 << 28) | (0 << 27) | (0x00 << 9) | 64;
	sdhc_data.data = wbuf;
	zassert_ok(sdhc_request(dev, &cmd, &sdhc_data), "CMD53 write failed");
	zassert_equal(sdhc_data.bytes_xfered, 64, "bytes_xfered mismatch on write");

	memset(rbuf, 0, 64);
	cmd.arg = (0 << 31) | (1 << 28) | (0 << 27) | (0x00 << 9) | 64;
	sdhc_data.data = rbuf;
	zassert_ok(sdhc_request(dev, &cmd, &sdhc_data), "CMD53 read failed");
	zassert_equal(sdhc_data.bytes_xfered, 64, "bytes_xfered mismatch on read");
	zassert_mem_equal(wbuf, rbuf, 64, "CMD53 byte mode data mismatch");
}

/* Verify CMD53 block-mode write and read round-trip with bytes_xfered. */
ZTEST(sdhc_sdio, test_cmd53_block_mode_rw)
{
	struct sdhc_command cmd = {0};
	struct sdhc_data sdhc_data = {0};
	uint8_t wbuf[1024];
	uint8_t rbuf[1024];

	for (int i = 0; i < 1024; i++) {
		wbuf[i] = (uint8_t)(i ^ 0xAA);
	}

	cmd.opcode = SDIO_RW_EXTENDED;
	cmd.arg = (1 << 31) | (1 << 28) | (1 << 27) | (0x00 << 9) | 2;
	sdhc_data.data = wbuf;
	zassert_ok(sdhc_request(dev, &cmd, &sdhc_data), "CMD53 write failed");
	zassert_equal(sdhc_data.bytes_xfered, 1024, "bytes_xfered mismatch on write");

	memset(rbuf, 0, 1024);
	cmd.arg = (0 << 31) | (1 << 28) | (1 << 27) | (0x00 << 9) | 2;
	sdhc_data.data = rbuf;
	zassert_ok(sdhc_request(dev, &cmd, &sdhc_data), "CMD53 read failed");
	zassert_equal(sdhc_data.bytes_xfered, 1024, "bytes_xfered mismatch on read");
	zassert_mem_equal(wbuf, rbuf, 1024, "CMD53 block mode data mismatch");
}

/* Verify CMD52 is rejected when the function number exceeds devicetree count. */
ZTEST(sdhc_sdio, test_sdio_invalid_function_boundary)
{
	struct sdhc_command cmd = {0};

	/* CMD52 with function count + 1 should fail */
	cmd.opcode = SDIO_RW_DIRECT;
	cmd.arg = (0 << 31) | (3 << 28) | (0x00 << 9); /* Read, Func 3 (DT has 2 functions) */
	int ret = sdhc_request(dev, &cmd, NULL);

	zassert_not_equal(ret, 0, "CMD52 with invalid func should fail");
}

/* Verify SDIO net loopback writes and reads back payload with bytes_xfered. */
#ifdef CONFIG_SDHC_EMUL_SDIO_NET
ZTEST(sdhc_sdio, test_net_loopback)
{
	struct sdhc_command cmd = {0};
	struct sdhc_data sdhc_data = {0};
	uint8_t wbuf[64] = "mock_udp_payload";
	uint8_t rbuf[64] = {0};

	cmd.opcode = SDIO_RW_EXTENDED;
	cmd.arg = (1 << 31) | (1 << 28) | (0 << 27) | (0x00 << 9) | 64;
	sdhc_data.data = wbuf;
	zassert_ok(sdhc_request(dev, &cmd, &sdhc_data), "Net TX write failed");
	zassert_equal(sdhc_data.bytes_xfered, 64, "bytes_xfered mismatch on TX");

	cmd.arg = (0 << 31) | (1 << 28) | (0 << 27) | (0x00 << 9) | 64;
	sdhc_data.data = rbuf;
	zassert_ok(sdhc_request(dev, &cmd, &sdhc_data), "Net RX read failed");
	zassert_equal(sdhc_data.bytes_xfered, 64, "bytes_xfered mismatch on RX");
	zassert_mem_equal(wbuf, rbuf, 64, "Net loopback payload mismatch");
}
#endif

/* Verify SDIO interrupt callback fires after emulator trigger. */
ZTEST(sdhc_sdio, test_interrupt_pending)
{
	struct k_sem irq_sem;

	k_sem_init(&irq_sem, 0, 1);

	sdhc_enable_interrupt(dev, sdio_irq_cb, SDHC_INT_SDIO, &irq_sem);

	/* Trigger IRQ via emulator test accessor */
	sdhc_emul_trigger_sdio_irq(dev, 1);

	/* Wait for the IRQ callback to fire */
	int ret = k_sem_take(&irq_sem, K_MSEC(100));

	zassert_ok(ret, "SDIO IRQ callback did not fire in time");
}
```
